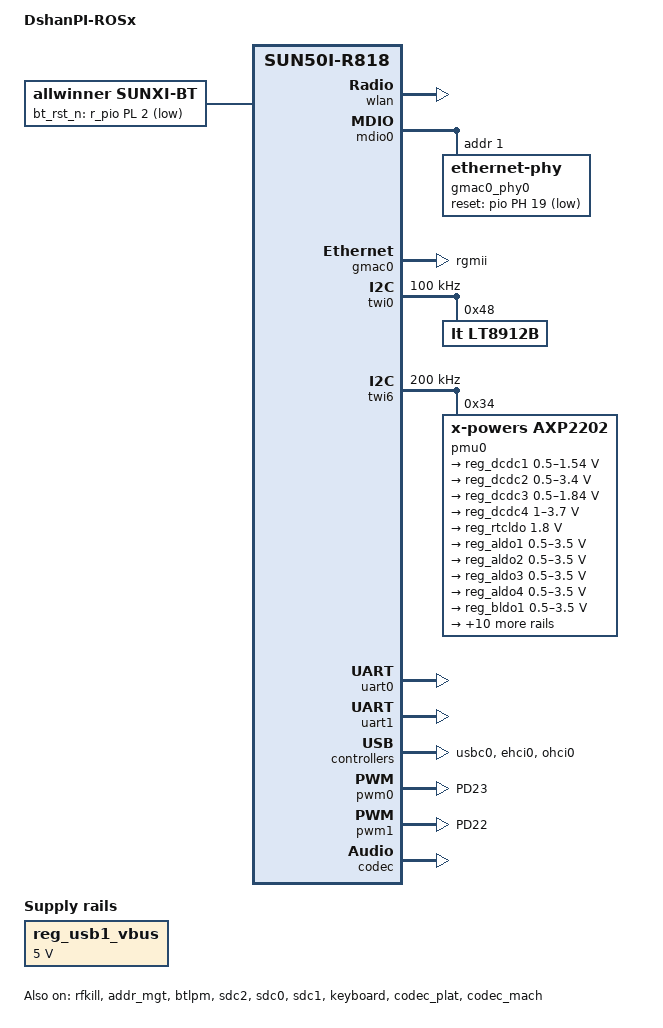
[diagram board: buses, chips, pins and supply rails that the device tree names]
/*
 * Allwinner Technology CO., Ltd. sun50iw10p1 soc board.
 *
 * soc board support.
 */

/dts-v1/;

#include "sun50i-r818.dtsi"

/{
	model = "DshanPI-ROSx";
	board = "R818";
	compatible = "allwinner,a100", "arm,sun50iw10p1";

	aliases {
		pmu0 = &pmu0;
		standby-param = &standby_param;
	};

	reg_usb1_vbus: usb1-vbus {
		compatible = "regulator-fixed";
		regulator-name = "usb1-vbus";
		regulator-min-microvolt = <5000000>;
		regulator-max-microvolt = <5000000>;
		regulator-enable-ramp-delay = <1000>;
		//gpio = <&r_pio PL 8 GPIO_ACTIVE_HIGH>;
		enable-active-high;
	};
};

&pio{
	vcc-pe-supply = <&reg_pio2_8>;
	vcc-pg-supply = <&reg_pio1_8>;

	card0_pins_a: sdc0@0 {
		allwinner,pins = "PF0", "PF1", "PF2",
				 "PF3", "PF4", "PF5";
		allwinner,function = "sdc0";
		allwinner,muxsel = <2>;
		allwinner,drive = <3>;
		allwinner,pull = <1>;
	};

	card2_pins_a: sdc2@0 {
		allwinner,pins = "PC1", "PC5", "PC6",
				 "PC8", "PC9", "PC10", "PC11",
				 "PC13", "PC14", "PC15", "PC16";
		allwinner,function = "sdc2";
		allwinner,muxsel = <3>;
		allwinner,drive = <3>;
		allwinner,pull = <1>;
	};

	card2_pins_c: sdc2@2 {
		allwinner,pins = "PC0";
		allwinner,function = "sdc2";
		allwinner,muxsel = <3>;
		allwinner,drive = <3>;
		allwinner,pull = <2>;
	};

	pwm0_pin_a: pwm0_pin_a {
		allwinner,pins = "PD23";
		allwinner,function = "pwm0";
		allwinner,muxsel = <0x02>;
		allwinner,drive = <1>;
		allwinner,pull = <0>;
	};

	pwm0_pin_b: pwm0_pin_b {
		allwinner,pins = "PD23";
		allwinner,function = "gpio_in";
		allwinner,muxsel = <0x0>;
		allwinner,drive = <0x2>;
		allwinner,pull = <0>;
	};

	pwm1_pin_a: pwm1_pin_a {
		allwinner,pins = "PD22";
		allwinner,function = "pwm1";
		allwinner,muxsel = <0x02>;
		allwinner,drive = <0x2>;
		allwinner,pull = <0>;
	};

	pwm1_pin_b: pwm1_pin_b {
		allwinner,pins = "PD22";
		allwinner,function = "gpio_in";
		allwinner,muxsel = <0x0>;
		allwinner,drive = <0x2>;
		allwinner,pull = <0>;
	};
};

&soc {
	card0_boot_para@2 {  /* Avoid dtc compiling warnings. @TODO: Developer should modify this to the actual value */
		reg = <0x0 0x2 0x0 0x0>;  /* Avoid dtc compiling warnings. @TODO: Developer should modify this to the actual value */
		device_type = "card0_boot_para";
		card_ctrl = <0x0>;
		card_high_speed = <0x1>;
		card_line = <0x4>;
		pinctrl-0 = <&card0_pins_a>;
	};

	card2_boot_para@3 {  /* Avoid dtc compiling warnings. @TODO: Developer should modify this to the actual value */
		reg = <0x0 0x3 0x0 0x0>;  /* Avoid dtc compiling warnings. @TODO: Developer should modify this to the actual value */
		device_type = "card2_boot_para";
		card_ctrl = <0x2>;
		card_high_speed = <0x1>;
		card_line = <0x8>;
		pinctrl-0 = <&card2_pins_a &card2_pins_c>;
		sdc_ex_dly_used = <0x2>;
		sdc_io_1v8 = <0x1>;
		sdc_tm4_win_th = <0x08>;
		sdc_tm4_hs200_max_freq = <150>;
		sdc_tm4_hs400_max_freq = <100>;
		sdc_type = "tm4";
	};

	gpio_bias@4 {  /* Avoid dtc compiling warnings. @TODO: Developer should modify this to the actual value */
		reg = <0x0 0x4 0x0 0x0>;  /* Avoid dtc compiling warnings. @TODO: Developer should modify this to the actual value */
		device_type = "gpio_bias";
		pc_bias = <1800>;
	};

	auto_print@54321 {
		reg = <0x0 0x54321 0x0 0x0>;
		device_type = "auto_print";
		status = "okay";
	};

	standby_param: standby_param@7000400 {
		reg = <0x0 0x07000400 0x0 0x0>;  /* Avoid dtc compiling warnings. @TODO: Developer should modify this to the actual value */
		vdd-cpu = <0x00000001>;
		vdd-sys = <0x00000002>;
		vcc-pll = <0x00000080>;

		osc24m-on = <0x0>;
	};

	hall_para {
		hall_name = "MH248";
		status = "okay";
		hall_int_port = <&r_pio PL 9 6 1 0xffffffff 0xffffffff>;
	};

	target {
		dragonboard_test = <0>;	/*1:support card boot dragonboard; 0:not support card boot dragonboard*/
	};
}; /*end of soc*/

&rfkill {
	compatible = "allwinner,sunxi-rfkill";
	chip_en;
	power_en = <&r_pio PL 7 GPIO_ACTIVE_HIGH>;
	pinctrl-0;
	pinctrl-names;
	status = "okay";

	/* wlan session */
	wlan {
		compatible    = "allwinner,sunxi-wlan";
		clocks;
		clock-names;
		wlan_power    = "axp2202-bldo1";
		wlan_power_vol= <1800000>;
		wlan_busnum   = <0x1>;
		wlan_regon    = <&r_pio PL 5 GPIO_ACTIVE_HIGH>;
		wlan_hostwake = <&r_pio PL 8 GPIO_ACTIVE_HIGH>;
		wakeup-source;
	};

	/* bt session */
	bt {
		compatible    = "allwinner,sunxi-bt";
		clocks;
		clock-names;
		bt_power      = "axp2202-bldo1";
		bt_power_vol  = <1800000>;
		bt_rst_n      = <&r_pio PL 2 GPIO_ACTIVE_LOW>;
	};
};

&addr_mgt {
	compatible     = "allwinner,sunxi-addr_mgt";
	type_addr_wifi = <0x0>;
	type_addr_bt   = <0x0>;
	type_addr_eth  = <0x0>;
	status         = "okay";
};

&btlpm {
	compatible  = "allwinner,sunxi-btlpm";
	uart_index  = <0x1>;
	bt_wake     = <&r_pio PL 4 GPIO_ACTIVE_HIGH>;
	bt_hostwake = <&r_pio PL 3 GPIO_ACTIVE_HIGH>;
	wakeup-source;
	status      = "okay";
};


&mdio0{
        status = "okay";
        gmac0_phy0: ethernet-phy@1 {
                 reg = <1>;
                 max-speed = <1000>;  /* Max speed capability */
                 reset-gpios = <&pio PH 19 GPIO_ACTIVE_LOW>;
      };
};

&gmac0 {
	phy-mode = "rgmii";
	use_ephy25m = <0>;
	sunxi,phy-clk-type =<0>;
	tx-delay = <7>;
	rx-delay = <31>;
	status = "okay";
};

&sdc2 {
	non-removable;
	bus-width = <8>;
	//mmc-ddr-1_8v;
	//mmc-hs200-1_8v;
	//mmc-hs400-1_8v;
	no-sdio;
	no-sd;
	ctl-spec-caps = <0x308>;
	cap-mmc-highspeed;
	sunxi-power-save-mode;
	sunxi-dis-signal-vol-sw;
	mmc-bootpart-noacc;
	cap-hsq;
	max-frequency = <50000000>;
	vmmc-supply = <&reg_cldo3>;
	/*emmc io vol 3.3v*/
	/*vqmmc-supply = <&reg_aldo1>;*/
	/*emmc io vol 1.8v*/
	vqmmc-supply = <&reg_cldo1>;
	status = "okay";
};

&sdc0 {
	bus-width = <4>;
	//cd-gpios = <&pio PF 6 (GPIO_ACTIVE_LOW | GPIO_PULL_UP)>;
	/*non-removable;*/
	broken-cd;
	/*cd-inverted*/
	data3-detect;
	/*card-pwr-gpios = <&pio PH 14 1 1 2 0xffffffff>;*/
	cd-used-24M;
	cap-sd-highspeed;
	sd-uhs-sdr50;
	sd-uhs-ddr50;
	sd-uhs-sdr104;
	no-sdio;
	no-mmc;
	sunxi-power-save-mode;
	/*sunxi-dis-signal-vol-sw;*/
	max-frequency = <150000000>;
	ctl-spec-caps = <0x408>;
	vmmc-supply = <&reg_cldo3>;
	vqmmc33sw-supply = <&reg_cldo3>;
	vdmmc33sw-supply = <&reg_cldo3>;
	vqmmc18sw-supply = <&reg_cldo1>;
	vdmmc18sw-supply = <&reg_cldo1>;
	status = "okay";
};

&sdc1 {
	bus-width = <4>;
	no-mmc;
	no-sd;
	cap-sd-highspeed;
	/*sd-uhs-sdr12*/
	sd-uhs-sdr25;
	sd-uhs-sdr50;
	sd-uhs-ddr50;
	sd-uhs-sdr104;
	/*sunxi-power-save-mode;*/
	sunxi-dis-signal-vol-sw;
	cap-sdio-irq;
	keep-power-in-suspend;
	ignore-pm-notify;
	max-frequency = <150000000>;
	ctl-spec-caps = <0x8>;
	vmmc-supply = <&reg_bldo1>;
	vqmmc-supply = <&reg_bldo1>;
	status = "okay";
};

&nand0 {
        nand0_regulator1-supply = <&reg_cldo3>;
        nand0_regulator2-supply = <&reg_cldo1>;
};

&dram_opp_table {
	opp@99000000 {
		opp-hz = /bits/ 64 <99000000>;
	};
	opp@352000000 {
		opp-hz = /bits/ 64 <352000000>;
	};
	opp@633600000 {
		opp-hz = /bits/ 64 <633600000>;
	};
	opp@792000000 {
		opp-hz = /bits/ 64 <792000000>;
		opp-suspend;
	};
};

&twi0 {
	clock-frequency = <100000>;
	pinctrl-0 = <&twi0_pins_a>;
	pinctrl-1 = <&twi0_pins_b>;
	twi-supply = <&reg_cldo3>;
	no_suspend = <1>;
        twi_drv_used = <1>;
	status = "okay";

	lt8912b@48 {
		compatible = "lt,lt8912b";
		reg = <0x48>;
		status = "okay";
	};
};

&twi1 {
	clock-frequency = <200000>;
	pinctrl-0 = <&twi1_pins_a>;
	pinctrl-1 = <&twi1_pins_b>;
	status = "disabled";
};

&twi2 {
	clock-frequency = <200000>;
	pinctrl-0 = <&twi2_pins_a>;
	pinctrl-1 = <&twi2_pins_b>;
	twi-supply = <&reg_aldo2>;
	twi_vol = <2000000>;
	status = "disabled";
};

&twi3 {
	clock-frequency = <200000>;
	pinctrl-0 = <&twi3_pins_a>;
	pinctrl-1 = <&twi3_pins_b>;
	twi-supply = <&reg_aldo2>;
	twi_vol = <2800000>;
	twi_drv_used = <1>;
	status = "disabled";
};

&twi6 {
	clock-frequency = <200000>;
	pinctrl-0 = <&s_twi0_pins_a>;
	pinctrl-1 = <&s_twi0_pins_b>;
	no_suspend = <1>;
	twi_drv_used = <1>;
	status = "okay";

	pmu0: pmu@34 {
		compatible = "x-powers,axp2202";
		reg = <0x34>;
		status = "okay";
		interrupts = <0 IRQ_TYPE_LEVEL_LOW>;
		interrupt-parent = <&nmi_intc>;
		x-powers,drive-vbus-en;
		pmu_reset = <0>;
		pmu_irq_wakeup = <1>;
		pmu_hot_shutdown = <1>;

		wakeup-source;

		usb_power_supply: usb_power_supply {
			compatible = "x-powers,axp2202-usb-power-supply";
			status = "okay";

			pmu_usbpc_vol = <4600>;
			pmu_usbpc_cur = <500>;
			pmu_usbad_vol = <4000>;
			pmu_usbad_cur = <2500>;
			pmu_usb_typec_used = <0>;
			wakeup_usb_in;
			wakeup_usb_out;

			det_acin_supply = <&gpio_power_supply>;
			//pmu_acin_usbid_drv = <&pio PH 12 GPIO_ACTIVE_LOW>;
			//pmu_vbus_det_gpio = <&pio PH 13 GPIO_ACTIVE_LOW>;
		};

		gpio_power_supply: gpio_power_supply {
			compatible = "x-powers,gpio-supply";
			status = "disabled";
			//pmu_acin_det_gpio = <&pio PH 14 GPIO_ACTIVE_LOW>;
			det_usb_supply = <&usb_power_supply>;
		};

		bat_power_supply: bat-power-supply {
			compatible = "x-powers,axp2202-bat-power-supply";
			param = <&axp2202_parameter>;
			status = "okay";

			pmu_chg_ic_temp = <0>;

			pmu_battery_rdc= <156>;
			pmu_battery_cap = <5050>;
			pmu_runtime_chgcur = <1000>;
			pmu_suspend_chgcur = <1800>;
			pmu_shutdown_chgcur = <1800>;
			pmu_init_chgvol = <4350>;
			pmu_battery_warning_level1 = <15>;
			pmu_battery_warning_level2 = <0>;
			pmu_chgled_func = <0>;
			pmu_chgled_type = <0>;
			pmu_bat_para1 = <0>;
			pmu_bat_para2 = <0>;
			pmu_bat_para3 = <0>;
			pmu_bat_para4 = <0>;
			pmu_bat_para5 = <0>;
			pmu_bat_para6 = <0>;
			pmu_bat_para7 = <2>;
			pmu_bat_para8 = <3>;
			pmu_bat_para9 = <4>;
			pmu_bat_para10 = <6>;
			pmu_bat_para11 = <9>;
			pmu_bat_para12 = <14>;
			pmu_bat_para13 = <26>;
			pmu_bat_para14 = <38>;
			pmu_bat_para15 = <49>;
			pmu_bat_para16 = <52>;
			pmu_bat_para17 = <56>;
			pmu_bat_para18 = <60>;
			pmu_bat_para19 = <64>;
			pmu_bat_para20 = <70>;
			pmu_bat_para21 = <77>;
			pmu_bat_para22 = <83>;
			pmu_bat_para23 = <87>;
			pmu_bat_para24 = <90>;
			pmu_bat_para25 = <95>;
			pmu_bat_para26 = <99>;
			pmu_bat_para27 = <99>;
			pmu_bat_para28 = <100>;
			pmu_bat_para29 = <100>;
			pmu_bat_para30 = <100>;
			pmu_bat_para31 = <100>;
			pmu_bat_para32 = <100>;

			pmu_bat_temp_enable = <1>;
			pmu_jetia_en        = <0>;
			pmu_bat_charge_ltf = <1105>;
			pmu_bat_charge_htf = <141>;
			pmu_bat_shutdown_ltf = <1381>;
			pmu_bat_shutdown_htf = <89>;
			pmu_jetia_cool = <722>;
			pmu_jetia_warm = <196>;
			pmu_jcool_ifall = <1>;
			pmu_jwarm_ifall = <1>;
			pmu_bat_temp_para1 = <2814>;
			pmu_bat_temp_para2 = <2202>;
			pmu_bat_temp_para3 = <1737>;
			pmu_bat_temp_para4 = <1381>;
			pmu_bat_temp_para5 = <1105>;
			pmu_bat_temp_para6 = <890>;
			pmu_bat_temp_para7 = <722>;
			pmu_bat_temp_para8 = <484>;
			pmu_bat_temp_para9 = <332>;
			pmu_bat_temp_para10 = <233>;
			pmu_bat_temp_para11 = <196>;
			pmu_bat_temp_para12 = <166>;
			pmu_bat_temp_para13 = <141>;
			pmu_bat_temp_para14 = <121>;
			pmu_bat_temp_para15 = <89>;
			pmu_bat_temp_para16 = <66>;

			wakeup_bat_out;
			/* wakeup_bat_in; */
			/* wakeup_bat_charging; */
			/* wakeup_bat_charge_over; */
			/* wakeup_low_warning1; */
			/* wakeup_low_warning2; */
			/* wakeup_bat_untemp_work; */
			/* wakeup_bat_ovtemp_work; */
			/* wakeup_bat_untemp_chg; */
			/* wakeup_bat_ovtemp_chg; */
		};

		powerkey0: powerkey@0 {
			status = "okay";
			compatible = "x-powers,axp2101-pek";
			pmu_powkey_off_time = <6000>;
			pmu_powkey_off_func = <0>;
			pmu_powkey_off_en = <1>;
			pmu_powkey_long_time = <1500>;
			pmu_powkey_on_time = <512>;
			wakeup_rising;
			wakeup_falling;
		};

		regulator0: regulators@0 {
			reg_dcdc1: dcdc1 {
				regulator-name = "axp2202-dcdc1";
				regulator-min-microvolt = <500000>;
				regulator-max-microvolt = <1540000>;
				regulator-ramp-delay = <250>;
				regulator-enable-ramp-delay = <1000>;
				regulator-boot-on;
				regulator-always-on;
			};
			reg_dcdc2: dcdc2 {
				regulator-name = "axp2202-dcdc2";
				regulator-min-microvolt = <500000>;
				regulator-max-microvolt = <3400000>;
				regulator-ramp-delay = <250>;
				regulator-enable-ramp-delay = <1000>;
				regulator-boot-on;
				regulator-always-on;
			};
			reg_dcdc3: dcdc3 {
				regulator-name = "axp2202-dcdc3";
				regulator-min-microvolt = <500000>;
				regulator-max-microvolt = <1840000>;
				regulator-ramp-delay = <250>;
				regulator-enable-ramp-delay = <1000>;
				regulator-always-on;
			};
			reg_dcdc4: dcdc4 {
				regulator-name = "axp2202-dcdc4";
				regulator-min-microvolt = <1000000>;
				regulator-max-microvolt = <3700000>;
				regulator-ramp-delay = <250>;
				regulator-enable-ramp-delay = <1000>;
			};
			reg_rtcldo: rtcldo {
				/* RTC_LDO is a fixed, always-on regulator */
				regulator-name = "axp2202-rtcldo";
				regulator-min-microvolt = <1800000>;
				regulator-max-microvolt = <1800000>;
				regulator-boot-on;
				regulator-always-on;
			};
			reg_aldo1: aldo1 {
				regulator-name = "axp2202-aldo1";
				regulator-min-microvolt = <500000>;
				regulator-max-microvolt = <3500000>;
				regulator-enable-ramp-delay = <1000>;
			};
			reg_aldo2: aldo2 {
				regulator-name = "axp2202-aldo2";
				regulator-min-microvolt = <500000>;
				regulator-max-microvolt = <3500000>;
				regulator-enable-ramp-delay = <1000>;
			};
			reg_aldo3: aldo3 {
				regulator-name = "axp2202-aldo3";
				regulator-min-microvolt = <500000>;
				regulator-max-microvolt = <3500000>;
				regulator-enable-ramp-delay = <1000>;
				regulator-always-on;
				regulator-boot-on;
			};
			reg_aldo4: aldo4 {
				regulator-name = "axp2202-aldo4";
				regulator-min-microvolt = <500000>;
				regulator-max-microvolt = <3500000>;
				regulator-enable-ramp-delay = <1000>;
				regulator-always-on;
				regulator-boot-on;
			};
			reg_bldo1: bldo1 {
				regulator-name = "axp2202-bldo1";
				regulator-min-microvolt = <500000>;
				regulator-max-microvolt = <3500000>;
				regulator-enable-ramp-delay = <1000>;
			};
			reg_bldo2: bldo2 {
				regulator-name = "axp2202-bldo2";
				regulator-min-microvolt = <500000>;
				regulator-max-microvolt = <3500000>;
				regulator-enable-ramp-delay = <1000>;
				regulator-boot-on;
				regulator-always-on;
			};
			reg_bldo3: bldo3 {
				regulator-name = "axp2202-bldo3";
				regulator-min-microvolt = <500000>;
				regulator-max-microvolt = <3500000>;
				regulator-enable-ramp-delay = <1000>;
			};
			reg_bldo4: bldo4 {
				regulator-name = "axp2202-bldo4";
				regulator-min-microvolt = <500000>;
				regulator-max-microvolt = <3500000>;
				regulator-enable-ramp-delay = <1000>;
			};
			reg_cldo1: cldo1 {
				regulator-name = "axp2202-cldo1";
				regulator-min-microvolt = <500000>;
				regulator-max-microvolt = <3500000>;
				regulator-enable-ramp-delay = <1000>;
			};
			reg_cldo2: cldo2 {
				regulator-name = "axp2202-cldo2";
				regulator-min-microvolt = <500000>;
				regulator-max-microvolt = <3500000>;
				regulator-enable-ramp-delay = <1000>;
			};
			reg_cldo3: cldo3 {
				regulator-name = "axp2202-cldo3";
				regulator-min-microvolt = <500000>;
				regulator-max-microvolt = <3500000>;
				regulator-ramp-delay = <2500>;
				regulator-enable-ramp-delay = <1000>;
				regulator-boot-on;
			};
			reg_cldo4: cldo4 {
				regulator-name = "axp2202-cldo4";
				regulator-min-microvolt = <500000>;
				regulator-max-microvolt = <3500000>;
				regulator-enable-ramp-delay = <1000>;
			};
			reg_cpusldo: cpusldo {
				/* cpus */
				regulator-name = "axp2202-cpusldo";
				regulator-min-microvolt = <500000>;
				regulator-max-microvolt = <1400000>;
				regulator-boot-on;
				regulator-always-on;
			};
			reg_vmid: vmid {
				regulator-name = "axp2202-vmid";
				regulator-enable-ramp-delay = <1000>;
			};
			reg_drivevbus: drivevbus {
				regulator-name = "axp2202-drivevbus";
				regulator-enable-ramp-delay = <1000>;
				drivevbusin-supply = <&reg_vmid>;
			};
		};

		virtual-dcdc1 {
			compatible = "xpower-vregulator,dcdc1";
			dcdc1-supply = <&reg_dcdc1>;
		};
		virtual-dcdc2 {
			compatible = "xpower-vregulator,dcdc2";
			dcdc2-supply = <&reg_dcdc2>;
		};
		virtual-dcdc3 {
			compatible = "xpower-vregulator,dcdc3";
			dcdc3-supply = <&reg_dcdc3>;
		};
		virtual-dcdc4 {
			compatible = "xpower-vregulator,dcdc4";
			dcdc4-supply = <&reg_dcdc4>;
		};
		virtual-rtcldo {
			compatible = "xpower-vregulator,rtcldo";
			rtcldo-supply = <&reg_rtcldo>;
		};
		virtual-aldo1 {
			compatible = "xpower-vregulator,aldo1";
			aldo1-supply = <&reg_aldo1>;
		};
		virtual-aldo2 {
			compatible = "xpower-vregulator,aldo2";
			aldo2-supply = <&reg_aldo2>;
		};
		virtual-aldo3 {
			compatible = "xpower-vregulator,aldo3";
			aldo3-supply = <&reg_aldo3>;
		};
		virtual-aldo4 {
			compatible = "xpower-vregulator,aldo4";
			aldo4-supply = <&reg_aldo4>;
		};
		virtual-bldo1 {
			compatible = "xpower-vregulator,bldo1";
			bldo1-supply = <&reg_bldo1>;
		};
		virtual-bldo2 {
			compatible = "xpower-vregulator,bldo2";
			bldo2-supply = <&reg_bldo2>;
		};
		virtual-bldo3 {
			compatible = "xpower-vregulator,bldo3";
			bldo3-supply = <&reg_bldo3>;
		};
		virtual-bldo4 {
			compatible = "xpower-vregulator,bldo4";
			bldo4-supply = <&reg_bldo4>;
		};
		virtual-cldo1 {
			compatible = "xpower-vregulator,cldo1";
			cldo1-supply = <&reg_cldo1>;
		};
		virtual-cldo2 {
			compatible = "xpower-vregulator,cldo2";
			cldo2-supply = <&reg_cldo2>;
		};
		virtual-cldo3 {
			compatible = "xpower-vregulator,cldo3";
			cldo3-supply = <&reg_cldo3>;
		};
		virtual-cldo4 {
			compatible = "xpower-vregulator,cldo4";
			cldo4-supply = <&reg_cldo4>;
		};
		virtual-cpusldo {
			compatible = "xpower-vregulator,cpusldo";
			cpusldo-supply = <&reg_cpusldo>;
		};
		virtual-drivevbus {
			compatible = "xpower-vregulator,drivevbus";
			drivevbus-supply = <&reg_drivevbus>;
		};
		axp_gpio0: axp_gpio@0 {
			gpio-controller;
			#size-cells = <0>;
			#gpio-cells = <6>;
			status = "okay";
		};
	};
};

/{
	axp2202_parameter:axp2202-parameter {
		select = "battery-model";

		battery-model {
			parameter = /bits/ 8 <0x01 0xf5 0x40 0x00 0x1b 0x1e 0x28 0x0f 0x0c 0x1e 0x32 0x02 0x14 0x05 0x0a
0x04 0x74 0xfb 0xc8 0x0d 0x43 0x10 0xcc 0xfb 0x46 0x01 0xea 0x13 0xba 0x06 0xcc
0x06 0x9d 0x0b 0x5f 0x0f 0xef 0x0f 0x97 0x0a 0x4e 0x0e 0xf1 0x0e 0xe8 0x04 0xd9
0x04 0xce 0x09 0xc4 0x0e 0xb6 0x0e 0xb0 0x09 0xa5 0x0e 0x8e 0x0e 0x8d 0x04 0x7a
0x04 0x63 0x09 0x5c 0x0e 0x48 0x0d 0xc9 0x07 0x51 0x5c 0x2e 0x29 0x20 0x0e 0x15
0x09 0xc5 0x98 0x7e 0x66 0x4e 0x44 0x38 0x1a 0x12 0x0a 0xf6 0x00 0x00 0xf6 0x00
0xf6 0x00 0xfb 0x00 0x00 0xfb 0x00 0x00 0xfb 0x00 0x00 0xf6 0x00 0x00 0xf6 0x00
0xf6 0x00 0xfb 0x00 0x00 0xfb 0x00 0x00 0xfb 0x00 0x00 0xf6 0x00 0x00 0xf6 0x00
0xf6>;
		};
			  };
};


&uart0 {
	uart-supply = <&reg_cldo3>;
	status = "okay";
};

&uart1 {
	status = "okay";
};

/*
 * Use TF card interface as uart debug port.
 * This is for developer's debugging.
 * @TODO: Shall be removed later
 */
&uart0_pins_a {
	pins = "", "";
	function = "uart0";
	drive-strength = <10>;
	bias-pull-up;
};

&uart0_pins_b {
	pins = "", "";
	function = "gpio_in";  /* io_disabled */
};

/*
 *usb_port_type: usb mode. 0-device, 1-host, 2-otg.
 *usb_detect_type: usb hotplug detect mode. 0-none, 1-vbus/id detect, 2-id/dpdm detect.
 *usb_detect_mode: 0-thread scan, 1-id gpio interrupt.
 *usb_id_gpio: gpio for id detect.
 *usb_det_vbus_gpio: gpio for id detect. gpio or "axp_ctrl";
 *usb_wakeup_suspend：0-SUPER_STANDBY, 1-USB_STANDBY.
 */
&usbc0 {
	device_type = "usbc0";
	usb_port_type = <0x2>;
	usb_detect_type = <0x1>;
	usb_detect_mode = <0>;
	usb_id_gpio = <&pio PH 8 GPIO_ACTIVE_HIGH>;
	enable-active-high;
	usb_det_vbus_gpio   = "axp_ctrl";
	det_vbus_supply = <&usb_power_supply>;
	usbc-supply = <&reg_cldo3>;
	usb_wakeup_suspend = <0>;
	usb_serial_unique = <0>;
	usb_serial_number = "20080411";
	rndis_wceis = <1>;
	status = "okay";
};

&udc {
	det_vbus_supply = <&usb_power_supply>;
	udc-supply = <&reg_cldo3>;
};

&ehci0 {
	drvvbus-supply = <&reg_drivevbus>;
	hci-supply = <&reg_cldo3>;
	status = "okay";
};

&ohci0 {
	drvvbus-supply = <&reg_drivevbus>;
	hci-supply = <&reg_cldo3>;
	status = "okay";
};

&usbc1 {
	device_type = "usbc1";
	usb_regulator_io = "nocare";
	usb_wakeup_suspend = <0>;
	status = "disabled";
};

&ehci1 {
	drvvbus-supply = <&reg_usb1_vbus>;
	status = "disabled";
};

&ohci1 {
	drvvbus-supply = <&reg_usb1_vbus>;
	status = "disabled";
};

&pwm0 {
	pinctrl-names = "active", "sleep";
	pinctrl-0 = <&pwm0_pin_a>;
	pinctrl-1 = <&pwm0_pin_b>;
};

&pwm1 {
	pinctrl-names = "active", "sleep";
	pinctrl-0 = <&pwm1_pin_a>;
	pinctrl-1 = <&pwm1_pin_b>;
};

&spi0 {
	spi_slave_mode = <0>;
	status = "disabled";
};

&spi1 {
	spi_slave_mode = <0>;
	status = "disabled";
};

&spi2 {
	spi_slave_mode = <0>;
	status = "disabled";
};

&keyboard {
	compatible = "allwinner,keyboard_1350mv";
	status = "okay";
	key_cnt = <3>;
	key0 = <475 0x7372>;
	key1 = <646 0x73>;
	key2 = <900 0x72>;
};

&vind0 {
	csi_top = <336000000>;
	csi_isp = <300000000>;
	status = "disabled";

	actuator0: actuator@2108180 {
		device_type = "actuator0";
		actuator0_name = "dw9714_act";
		actuator0_slave = <0x18>;
		actuator0_af_pwdn = <>;
		actuator0_afvdd = "afvcc-csi";
		actuator0_afvdd_vol = <2800000>;
		status = "okay";
	};
	flash0: flash@2108190 {
		device_type = "flash0";
		flash0_type = <2>;
		flash0_en = <&r_pio PL 11 GPIO_ACTIVE_LOW>;
		flash0_mode = <>;
		flash0_flvdd = "";
		flash0_flvdd_vol = <>;
		device_id = <0>;
		status = "okay";
	};
	sensor0:sensor@200b800 {
		device_type = "sensor0";
		sensor0_mname = "ov5648_mipi";
		sensor0_twi_cci_id = <2>;
		sensor0_twi_addr = <0x6c>;
		sensor0_mclk_id = <0>;
		sensor0_pos = "rear";
		sensor0_isp_used = <1>;
		sensor0_fmt = <1>;
		sensor0_stby_mode = <0>;
		sensor0_vflip = <0>;
		sensor0_hflip = <0>;
		sensor0_cameravdd-supply = <&reg_bldo3>;
		sensor0_cameravdd_vol = <2800000>;
		sensor0_iovdd-supply = <&reg_aldo2>;
		sensor0_iovdd_vol = <2000000>;
		sensor0_avdd-supply = <&reg_aldo1>;
		sensor0_avdd_vol = <2800000>;
		sensor0_dvdd-supply = <&reg_bldo4>;
		sensor0_dvdd_vol = <1500000>;
		sensor0_power_en = <>;
		sensor0_reset = <&pio PE 9 GPIO_ACTIVE_LOW>;
		sensor0_pwdn = <&pio PE 8 GPIO_ACTIVE_LOW>;
		status	= "okay";
	};
	sensor1:sensor@200b810 {
		device_type = "sensor1";
		sensor1_mname = "gc02m2_mipi";
		sensor1_twi_cci_id = <2>;
		sensor1_twi_addr = <0x6e>;
		sensor1_mclk_id = <0>;
		sensor1_pos = "front";
		sensor1_isp_used = <1>;
		sensor1_fmt = <1>;
		sensor1_stby_mode = <0>;
		sensor1_vflip = <1>;
		sensor1_hflip = <1>;
		sensor1_iovdd-supply = <&reg_aldo2>;
		sensor1_iovdd_vol = <2000000>;
		sensor1_avdd-supply = <&reg_aldo1>;
		sensor1_avdd_vol = <2800000>;
		sensor1_dvdd-supply = <&reg_bldo4>;
		sensor1_dvdd_vol = <1800000>;
		sensor1_power_en = <>;
		sensor1_reset = <&pio PE 7 GPIO_ACTIVE_LOW>;
		sensor1_pwdn = <&pio PE 6 GPIO_ACTIVE_LOW>;
		status	= "okay";
	};
	vinc0:vinc@2009000 {
		vinc0_csi_sel = <0>;
		vinc0_mipi_sel = <0>;
		vinc0_isp_sel = <0>;
		vinc0_isp_tx_ch = <0>;
		vinc0_tdm_rx_sel = <0xff>;
		vinc0_rear_sensor_sel = <0>;
		vinc0_front_sensor_sel = <1>;
		vinc0_sensor_list = <0>;
		status = "okay";
	};
	vinc1:vinc@2009200 {
		vinc1_csi_sel = <0>;
		vinc1_mipi_sel = <0>;
		vinc1_isp_sel = <0>;
		vinc1_isp_tx_ch = <0>;
		vinc1_tdm_rx_sel = <0xff>;
		vinc1_rear_sensor_sel = <0>;
		vinc1_front_sensor_sel = <1>;
		vinc1_sensor_list = <0>;
		status = "okay";
	};
	vinc2:vinc@2009400 {
		vinc2_csi_sel = <1>;
		vinc2_mipi_sel = <1>;
		vinc2_isp_sel = <0>;
		vinc2_isp_tx_ch = <0>;
		vinc2_tdm_rx_sel = <0xff>;
		vinc2_rear_sensor_sel = <0>;
		vinc2_front_sensor_sel = <1>;
		vinc2_sensor_list = <0>;
		status = "okay";
	};
	vinc3:vinc@2009600 {
		vinc3_csi_sel = <1>;
		vinc3_mipi_sel = <1>;
		vinc3_isp_sel = <0>;
		vinc3_isp_tx_ch = <0>;
		vinc3_tdm_rx_sel = <0xff>;
		vinc3_rear_sensor_sel = <0>;
		vinc3_front_sensor_sel = <1>;
		vinc3_sensor_list = <0>;
		status = "okay";
	};
};
/*----------------------------------------------------------------------------------
disp init configuration

disp_mode             (0:screen0<screen0,fb0>)
screenx_output_type   (0:none; 1:lcd; 2:tv; 3:hdmi;5:vdpo)
screenx_output_mode   (used for hdmi output, 0:480i 1:576i 2:480p 3:576p 4:720p50)
                      (5:720p60 6:1080i50 7:1080i60 8:1080p24 9:1080p50 10:1080p60)
screenx_output_format (for hdmi, 0:RGB 1:yuv444 2:yuv422 3:yuv420)
screenx_output_bits   (for hdmi, 0:8bit 1:10bit 2:12bit 2:16bit)
screenx_output_eotf   (for hdmi, 0:reserve 4:SDR 16:HDR10 18:HLG)
screenx_output_cs     (for hdmi, 0:undefined  257:BT709 260:BT601  263:BT2020)
screenx_output_dvi_hdmi (for hdmi, 0:undefined 1:dvi mode 2:hdmi mode)
screen0_output_range   (for hdmi, 0:default 1:full 2:limited)
screen0_output_scan    (for hdmi, 0:no data 1:overscan 2:underscan)
screen0_output_aspect_ratio  (for hdmi, 8-same as original picture 9-4:3 10-16:9 11-14:9)
fbx format            (4:RGB655 5:RGB565 6:RGB556 7:ARGB1555 8:RGBA5551 9:RGB888 10:ARGB8888 12:ARGB4444)
fbx pixel sequence    (0:ARGB 1:BGRA 2:ABGR 3:RGBA)
fb0_scaler_mode_enable(scaler mode enable, used FE)
fbx_width,fbx_height  (framebuffer horizontal/vertical pixels, fix to output resolution while equal 0)
lcdx_backlight        (lcd init backlight,the range:[0,256],default:197
lcdx_yy               (lcd init screen bright/contrast/saturation/hue, value:0~100, default:50/50/57/50)
lcd0_contrast         (LCD contrast, 0~100)
lcd0_saturation       (LCD saturation, 0~100)
lcd0_hue              (LCD hue, 0~100)
framebuffer software rotation setting:
disp_rotation_used:   (0:disable; 1:enable,you must set fbX_width to lcd_y,
set fbX_height to lcd_x)
degreeX:              (X:screen index; 0:0 degree; 1:90 degree; 3:270 degree)
degreeX_Y:            (X:screen index; Y:layer index 0~15; 0:0 degree; 1:90 degree; 3:270 degree)
devX_output_type : config output type in bootGUI framework in UBOOT-2018.
				   (0:none; 1:lcd; 2:tv; 4:hdmi;)
devX_output_mode : config output resolution(see include/video/sunxi_display2.h) of bootGUI framework in UBOOT-2018
devX_screen_id   : config display index of bootGUI framework in UBOOT-2018
devX_do_hpd      : whether do hpd detectation or not in UBOOT-2018
chn_cfg_mode     : Hardware DE channel allocation config. 0:single display with 6
				   channel, 1:dual display with 4 channel in main display and 2 channel in second
                   display, 2:dual display with 3 channel in main display and 3 channel in second
                   in display.
----------------------------------------------------------------------------------*/
#if 0
&disp {
	disp_init_enable         = <1>;
	disp_mode                = <0>;

	screen0_output_type      = <1>;
	screen0_output_mode      = <4>;

	screen1_output_type      = <1>;
	screen1_output_mode      = <4>;

	dev0_output_mode         = <4>;
	dev0_screen_id           = <0>;
	dev0_do_hpd              = <0>;

	dev1_output_type         = <4>;
	dev1_output_mode         = <10>;
	dev1_screen_id           = <1>;
	dev1_do_hpd              = <1>;

	def_output_dev           = <0>;
	hdmi_mode_check          = <1>;

	fb_format                = <0>;
	fb_num                   = <1>;
	/*<disp channel layer zorder>*/
	fb0_map                  = <0 1 0 16>;
	fb0_width                = <1920>;
	fb0_height               = <1080>;
	/*<disp channel layer zorder>*/
	fb1_map                  = <0 2 0 16>;
	fb1_width                = <300>;
	fb1_height               = <300>;
	/*<disp channel layer zorder>*/
	fb2_map                  = <1 0 0 16>;
	fb2_width                = <1280>;
	fb2_height               = <720>;
	/*<disp channel layer zorder>*/
	fb3_map                  = <1 1 0 16>;
	fb3_width                = <300>;
	fb3_height               = <300>;

	chn_cfg_mode             = <1>;

	disp_para_zone           = <1>;
	/*VCC-LCD*/
	cldo4-supply = <&reg_cldo4>;
	/*VCC-DSI*/

	/*VCC-PD*/
	cldo3-supply = <&reg_cldo3>;
};
#endif

&disp {
        disp_init_enable         = <1>;
        disp_mode                = <0>;

        screen0_output_type      = <1>;
        screen0_output_mode      = <4>;

        screen1_output_type      = <1>;
        screen1_output_mode      = <4>;

        screen1_output_format    = <0>;
        screen1_output_bits      = <0>;
        screen1_output_eotf      = <4>;
        screen1_output_cs        = <257>;
        screen1_output_range     = <2>;
        screen1_output_scan      = <0>;
        screen1_output_aspect_ratio = <8>;

        dev0_output_type         = <1>;
        dev0_output_mode         = <4>;
        dev0_screen_id           = <0>;
        dev0_do_hpd              = <0>;

        dev1_output_type         = <4>;
        dev1_output_mode         = <10>;
        dev1_screen_id           = <1>;
        dev1_do_hpd              = <1>;

        def_output_dev           = <0>;

        fb0_format               = <0>;
        fb0_width                = <0>;
        fb0_height               = <0>;

        fb1_format               = <0>;
        fb1_width                = <0>;
        fb1_height               = <0>;
        chn_cfg_mode             = <1>;
        disp_para_zone           = <1>;
        /*VCC-LCD*/
/*      dc1sw-supply = <&reg_dc1sw>;*/
        /*VCC-DSI*/
/*      eldo3-supply = <&reg_eldo3>;*/
        /*VCC-PD*/
/*      dcdc1-supply = <&reg_dcdc1>;*/
};

/*----------------------------------------------------------------------------------
;lcd0 configuration

;lcd_if:               0:hv(sync+de); 1:8080; 2:ttl; 3:lvds; 4:dsi; 5:edp; 6:extend dsi
;lcd_hv_if             0:Parallel RGB; 8:Serial RGB; 10:Dummy RGB; 11: RGB Dummy;12:CCIR656
;lcd_hv_clk_phase      0:0 degree;1:90 degree;2:180 degree;3:270 degree
;lcd_hv_sync_polarity  0:vs low,hs low; 1:vs high,hslow; 2:vs low,hs high; 3:vs high,hs high
;lcd_hv_syuv_seq       0:YUYV; 1:YVYU; 2:UYVY; 3:VYUY
;lcd_cpu_if            0:18bit/1 cycle parallel(RGB666); 4:16bit/1cycle parallel (RGB565)
;                      6:18bit/3 cycle parallel(RGB666); 7:16bit/2cycle parallel (RGB565)
;lcd_cpu_te            0:frame auto trigger; 1:frame triggered by te rising edge; 2:frame triggered by te falling edge;
;lcd_dsi_if            0:video mode; 1: Command mode; 2:video burst mode
;lcd_dsi_te            0:frame auto trigger; 1:frame triggered by te rising edge; 2:frame triggered by te falling edge;
;lcd_x:                lcd horizontal resolution
;lcd_y:                lcd vertical resolution
;lcd_width:            width of lcd in mm
;lcd_height:           height of lcd in mm
;lcd_dclk_freq:        in MHZ unit
;lcd_pwm_freq:         in HZ unit
;lcd_pwm_pol:          lcd backlight PWM polarity
;lcd_pwm_max_limit     lcd backlight PWM max limit(<=255)
;lcd_hbp:              hsync back porch(pixel) + hsync plus width(pixel);
;lcd_ht:               hsync total cycle(pixel)
;lcd_vbp:              vsync back porch(line) + vysnc plus width(line)
;lcd_vt:               vysnc total cycle(line)
;lcd_hspw:             hsync plus width(pixel)
;lcd_vspw:             vysnc plus width(pixel)
;lcd_lvds_if:          0:single link;  1:dual link
;lcd_lvds_colordepth:  0:8bit; 1:6bit
;lcd_lvds_mode:        0:NS mode; 1:JEIDA mode
;lcd_frm:              0:disable; 1:enable rgb666 dither; 2:enable rgb656 dither
;lcd_io_phase:         0:noraml; 1:intert phase(0~3bit: vsync phase; 4~7bit:hsync phase;
;                      8~11bit:dclk phase; 12~15bit:de phase)
;lcd_gamma_en          lcd gamma correction enable
;lcd_bright_curve_en   lcd bright curve correction enable
;lcd_cmap_en           lcd color map function enable
;deu_mode              0:smoll lcd screen; 1:large lcd screen(larger than 10inch)
;lcdgamma4iep:         Smart Backlight parameter, lcd gamma vale * 10;
;                      decrease it while lcd is not bright enough; increase while lcd is too bright
;smart_color           90:normal lcd screen 65:retina lcd screen(9.7inch)
;Pin setting for special function ie.LVDS, RGB data or vsync
;   name(donot care) = port:PD12<pin function><pull up or pull down><drive ability><output level>
;Pin setting for gpio:
;   lcd_gpio_X     = port:PD12<pin function><pull up or pull down><drive ability><output level>
;Pin setting for backlight enable pin
;   lcd_bl_en     = port:PD12<pin function><pull up or pull down><drive ability><output level>
;fsync setting, pulse to csi
;lcd_fsync_en          (0:disable fsync,1:enable)
;lcd_fsync_act_time    (active time of fsync, unit:pixel)
;lcd_fsync_dis_time    (disactive time of fsync, unit:pixel)
;lcd_fsync_pol         (0:positive;1:negative)
;gpio config: <&pio for cpu or &r_pio for cpus, port, port num, pio function,
pull up or pull down(default 0), driver level(default 1), data>
;For dual link lvds: use lvds2link_pins_a  and lvds2link_pins_b instead
;For rgb24: use rgb24_pins_a  and rgb24_pins_b instead
;For lvds1: use lvds1_pins_a  and lvds1_pins_b instead
;For lvds0: use lvds0_pins_a  and lvds0_pins_b instead
;----------------------------------------------------------------------------------*/
&lcd0 {
        lcd_used            = <1>;

        lcd_driver_name     = "panel-lt8912b-hdmi";
        lcd_backlight       = <255>;
        lcd_if              = <4>;

        lcd_x               = <1920>;
        lcd_y               = <1080>;
        lcd_dclk_freq       = <148>;

        lcd_hbp             = <192>;
        lcd_ht              = <2200>;
        lcd_hspw            = <44>;
        lcd_vbp             = <41>;
        lcd_vt              = <1125>;
        lcd_vspw            = <5>;

        lcd_dsi_lane        = <4>;
        lcd_dsi_if          = <0>;
        lcd_dsi_format      = <0>;
        lcd_dsi_te          = <0>;
        lcd_frm             = <0>;
        lcd_io_phase        = <0>;
        lcd_gamma_en        = <0>;
        lcd_bright_curve_en = <0>;
        lcd_cmap_en         = <0>;

        deu_mode            = <0>;
        lcdgamma4iep        = <22>;
        smart_color         = <90>;

        lcd_gpio_0 = <&pio PH 11 GPIO_ACTIVE_HIGH>;
        pinctrl-0 = <&dsi4lane_pins_a>;
        pinctrl-1 = <&dsi4lane_pins_b>;
};

&lcd0_1 {
	lcd_used            = <1>;

	lcd_driver_name     = "CC08021801_310_800X1280";
	lcd_backlight       = <50>;
	lcd_if              = <4>;

	lcd_x               = <800>;
	lcd_y               = <1280>;
	lcd_width           = <108>;
	lcd_height          = <172>;
	lcd_dclk_freq       = <75>;

	lcd_pwm_used        = <1>;
	lcd_pwm_ch          = <0>;
	lcd_pwm_freq        = <50000>;
	lcd_pwm_pol         = <0>;
	lcd_pwm_max_limit   = <255>;


	lcd_hbp             = <72>;
	lcd_ht              = <924>;
	lcd_hspw            = <16>;
	lcd_vbp             = <8>;
	lcd_vt              = <1396>;
	lcd_vspw            = <4>;

	lcd_frm             = <0>;
	lcd_gamma_en        = <0>;
	lcd_bright_curve_en = <0>;
	lcd_cmap_en         = <0>;

	deu_mode            = <0>;
	lcdgamma4iep        = <22>;
	smart_color         = <90>;

	lcd_dsi_if          = <0>;
	lcd_dsi_lane        = <4>;
	lcd_dsi_format      = <0>;
	lcd_dsi_te          = <0>;
	lcd_dsi_eotp        = <0>;

	/* vcc-mipi */

	/* vcc-lcd */
	lcd_pin_power = "cldo3";

	lcd_power1 = "cldo3";
	lcd_power2 = "cldo4";

	/*lcd_gpio_0        = <&pio PD 23 1 0 3 1>;*/
	//lcd_gpio_1          = <&pio PD 22 GPIO_ACTIVE_HIGH>;

	pinctrl-0           = <&dsi4lane_pins_a>;
	pinctrl-1           = <&dsi4lane_pins_b>;

	//lcd_bl_en           = <&pio PB 8 GPIO_ACTIVE_HIGH>;
	lcd_bl_0_percent    = <15>;
	lcd_bl_100_percent  = <100>;
};

&gpu {
	gpu_idle = <0>;
	dvfs_status = <1>;
	pll_rate = <456000>;
	independent_power = <0>;
	 markid-points = <
		0x0400 456
		0x1400 504
		0x1000 504
		0x2000 504
		0x0000 504
	 >;
	operating-points = <
		/* KHz   uV */
		456000 950000
		399000 950000
		228000 950000
	 >;
};

&cpu0 {
	cpu-supply = <&reg_dcdc1>;
};

/* audio dirver module -> audio codec */
&codec {
	/* note: power settings */
	avcc-external;
	avcc-supply	= <&reg_aldo4>;
	avcc-vol	= <1800000>;
	dvcc-external;
	dvcc-supply	= <&reg_cldo1>;
	dvcc-vol	= <1800000>;
	/* note: volume settings */
	adc-dig-vol-l	= <160>;
	adc-dig-vol-r	= <160>;
	mic1-vol	= <31>;
	mic2-vol	= <31>;
	dac-dig-vol	= <61>;
	dac-dig-vol-l	= <160>;
	dac-dig-vol-r	= <160>;
	lineout-vol	= <31>;
	hp-vol		= <7>;
	/* note: circuit settings */
	/* lineout-single; */
	pa-pin-max	= <1>;
	//pa-pin-0	= <&pio PH 6 GPIO_ACTIVE_HIGH>;
	pa-pin-level-0	= <1>;
	pa-pin-msleep-0	= <0>;
	/* note: jack param -> codec */
	jack-det-level		= <0>;
	jack-det-threshold	= <8>;
	jack-det-debouce-time	= <250>;
	/* note: jack param -> extcon */
	/*
	extcon			= <&usb_power_supply>;
	jack-swpin-mic-sel	= <&pio PH 5 GPIO_ACTIVE_HIGH>;
	jack-swpin-hp-en	= <&pio PH 16 GPIO_ACTIVE_HIGH>;
	jack-swpin-hp-sel	= <&pio PH 15 GPIO_ACTIVE_HIGH>;
	jack-swmode-hp-off	= <0x00>;
	jack-swmode-hp-usb	= <0x01>;
	jack-swmode-hp-audio	= <0x10>;
	jack-det-level		= <0>;
	jack-det-threshold	= <8>;
	jack-det-debouce-time	= <250>;
	*/
	/* note: other settings */
	adc-delay-time	= <20>;
	tx-hub-en;
	rx-sync-en;
	status		= "okay";
};

&codec_plat {
	status		= "okay";
};

&codec_mach {
	soundcard-mach,jack;
	status		= "okay";
	soundcard-mach,cpu {
		sound-dai = <&codec_plat>;
	};
	soundcard-mach,codec {
		sound-dai = <&codec>;
	};
};

/* audio dirver module -> spdif */
&spdif_plat {
	/* pinctrl-used; */
	/* pinctrl-names	= "default","sleep"; */
	/* pinctrl-0	= <&spdif_pins_a>; */
	/* pinctrl-1	= <&spdif_pins_b>; */
	tx-hub-en;
	status		= "disabled";
};

&spdif_mach {
	status		= "disabled";
	soundcard-mach,cpu {
		sound-dai = <&spdif_plat>;
	};
	soundcard-mach,codec {
	};
};

/* audio dirver module -> DMIC */
&dmic_plat {
	rx-chmap	= <0x76543210>;
	data-vol	= <0xB0>;
	rxdelaytime	= <0>;
	/* pinctrl-used; */
	/* pinctrl-names	= "default","sleep"; */
	/* pinctrl-0	= <&dmic_pins_a>; */
	/* pinctrl-1	= <&dmic_pins_b>; */
	rx-sync-en;
	status		= "disabled";
};

&dmic_mach {
	status		= "disabled";
	soundcard-mach,cpu {
		sound-dai = <&dmic_plat>;
	};
	soundcard-mach,codec {
	};
};

/* audio dirver module -> I2S/PCM */
&daudio0_plat {
	tdm-num		= <0>;
	tx-pin		= <0>;
	rx-pin		= <0>;
	/* pinctrl-used; */
	/* pinctrl-names	= "default","sleep"; */
	/* pinctrl-0	= <&daudio0_pins_a>; */
	/* pinctrl-1	= <&daudio0_pins_b>; */
	tx-hub-en;
	rx-sync-en;
	status		= "disabled";
};

&daudio0_mach {
	soundcard-mach,format		= "i2s";
	soundcard-mach,frame-master	= <&daudio0_cpu>;
	soundcard-mach,bitclock-master	= <&daudio0_cpu>;
	/* soundcard-mach,frame-inversion; */
	/* soundcard-mach,bitclock-inversion; */
	soundcard-mach,slot-num		= <2>;
	soundcard-mach,slot-width	= <32>;
	status		= "disabled";
	daudio0_cpu: soundcard-mach,cpu {
		sound-dai = <&daudio0_plat>;
		/* note: pll freq = 24.576M or 22.5792M * pll-fs */
		soundcard-mach,pll-fs	= <1>;
		/* note:
		 * mclk freq = mclk-fs * 12.288M or 11.2896M	(when mclk-fp ture)
		 * mclk freq = mclk-fs * pcm rate		(when mclk-fp false)
		 */
		soundcard-mach,mclk-fp;
		soundcard-mach,mclk-fs	= <0>;
	};
	daudio0_codec: soundcard-mach,codec {
	};
};

&daudio1_plat {
	tdm-num		= <1>;
	tx-pin		= <0>;
	rx-pin		= <0>;
	/* pinctrl-used; */
	/* pinctrl-names= "default","sleep"; */
	/* pinctrl-0	= <&daudio1_pins_a>; */
	/* pinctrl-1	= <&daudio1_pins_b>; */
	tx-hub-en;
	rx-sync-en;
	status		= "disabled";
};

&daudio1_mach {
	soundcard-mach,format		= "i2s";
	soundcard-mach,frame-master	= <&daudio1_cpu>;
	soundcard-mach,bitclock-master	= <&daudio1_cpu>;
	/* soundcard-mach,frame-inversion; */
	/* soundcard-mach,bitclock-inversion; */
	soundcard-mach,slot-num		= <2>;
	soundcard-mach,slot-width	= <32>;
	status		= "disabled";
	daudio1_cpu: soundcard-mach,cpu {
		sound-dai = <&daudio1_plat>;
		soundcard-mach,pll-fs	= <1>;
		soundcard-mach,mclk-fs	= <0>;
	};
	daudio1_codec: soundcard-mach,codec {
	};
};

&daudio2_plat {
	tdm-num		= <2>;
	tx-pin		= <0>;
	rx-pin		= <0>;
	/* pinctrl-used; */
	/* pinctrl-names= "default","sleep"; */
	/* pinctrl-0	= <&daudio2_pins_a>; */
	/* pinctrl-1	= <&daudio2_pins_b>; */
	tx-hub-en;
	rx-sync-en;
	status		= "disabled";
};

&daudio2_mach {
	soundcard-mach,format		= "i2s";
	soundcard-mach,frame-master	= <&daudio2_cpu>;
	soundcard-mach,bitclock-master	= <&daudio2_cpu>;
	/* soundcard-mach,frame-inversion; */
	/* soundcard-mach,bitclock-inversion; */
	soundcard-mach,slot-num		= <2>;
	soundcard-mach,slot-width	= <32>;
	status		= "disabled";
	daudio2_cpu: soundcard-mach,cpu {
		sound-dai = <&daudio2_plat>;
		soundcard-mach,pll-fs	= <1>;
		soundcard-mach,mclk-fs	= <0>;
	};
	daudio2_codec: soundcard-mach,codec {
	};
};

&daudio3_plat {
	tdm-num		= <3>;
	tx-pin		= <0>;
	rx-pin		= <0>;
	/* pinctrl-used; */
	/* pinctrl-names= "default","sleep"; */
	/* pinctrl-0	= <&daudio3_pins_a>; */
	/* pinctrl-1	= <&daudio3_pins_b>; */
	tx-hub-en;
	rx-sync-en;
	status		= "disabled";
};

&daudio3_mach {
	soundcard-mach,format		= "i2s";
	soundcard-mach,frame-master	= <&daudio3_cpu>;
	soundcard-mach,bitclock-master	= <&daudio3_cpu>;
	/* soundcard-mach,frame-inversion; */
	/* soundcard-mach,bitclock-inversion; */
	soundcard-mach,slot-num		= <2>;
	soundcard-mach,slot-width	= <32>;
	status		= "disabled";
	daudio3_cpu: soundcard-mach,cpu {
		sound-dai = <&daudio3_plat>;
		soundcard-mach,pll-fs	= <1>;
		soundcard-mach,mclk-fs	= <0>;
	};
	daudio3_codec: soundcard-mach,codec {
	};
};
/* audio dirver module -> END */
